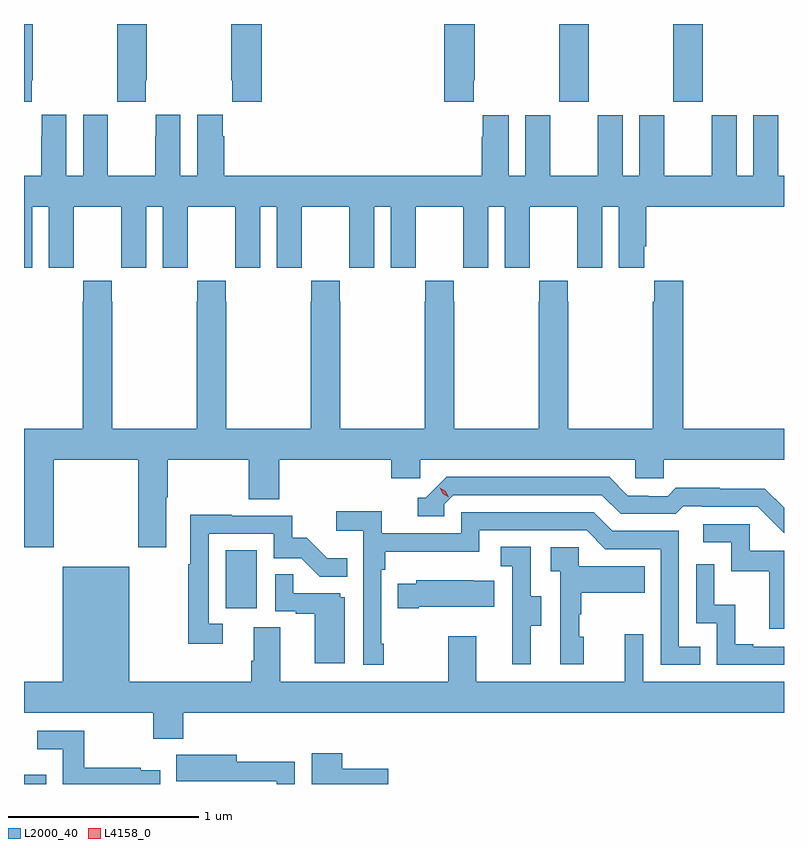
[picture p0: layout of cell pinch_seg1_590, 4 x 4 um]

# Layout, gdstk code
import gdstk
lib = gdstk.Library(unit=1e-6, precision=1e-09)
def R(c, l, rs):  # rectangles x0, y0, x1, y1
    for r in rs: c.add(gdstk.rectangle(r[:2], r[2:], *l))
def P(c, l, *ps):  # polygons
    for p in ps: c.add(gdstk.Polygon(p, *l))
L2000_40 = (2000, 40)
L4158_0 = (4158, 0)

pinch_seg1_590 = lib.new_cell('pinch_seg1_590')
R(pinch_seg1_590, L2000_40, [(1069.797,504.738,1069.914,504.787), (1070.858,505.662,1071.022,505.969), (1072.615,508.329,1072.77,508.738), (1073.215,508.329,1073.37,508.738)])
P(pinch_seg1_590, L2000_40, [(1072.165,508.441),(1072.17,508.441),(1072.17,508.738),(1072.01,508.738),(1072.01,508.329),(1072.165,508.329)],
  [(1071.047,508.738),(1070.887,508.738),(1070.887,508.441),(1070.893,508.441),(1070.893,508.329),(1071.047,508.329)],
  [(1070.439,508.441),(1070.442,508.441),(1070.442,508.738),(1070.287,508.738),(1070.287,508.441),(1070.289,508.441),(1070.289,508.329),(1070.439,508.329)],
  [(1069.839,508.441),(1069.842,508.441),(1069.842,508.738),(1069.797,508.738),(1069.797,508.329),(1069.839,508.329)],
  [(1070.239,508.148),(1070.238,508.148),(1070.238,508.261),(1070.108,508.261),(1070.108,507.94),(1070.02,507.94),(1070.02,508.261),(1069.89,508.261),(1069.89,508.148),(1069.889,508.148),(1069.889,507.94),(1069.797,507.94),(1069.797,507.456),(1069.84,507.456),(1069.84,507.776),(1069.928,507.776),(1069.928,507.456),(1070.058,507.456),(1070.058,507.568),(1070.059,507.568),(1070.059,507.776),(1070.309,507.776),(1070.309,507.568),(1070.31,507.568),(1070.31,507.456),(1070.44,507.456),(1070.44,507.776),(1070.528,507.776),(1070.528,507.456),(1070.658,507.456),(1070.658,507.568),(1070.659,507.568),(1070.659,507.776),(1070.909,507.776),(1070.909,507.568),(1070.91,507.568),(1070.91,507.456),(1071.04,507.456),(1071.04,507.776),(1071.128,507.776),(1071.128,507.456),(1071.258,507.456),(1071.258,507.568),(1071.259,507.568),(1071.259,507.776),(1071.509,507.776),(1071.509,507.568),(1071.51,507.568),(1071.51,507.456),(1071.64,507.456),(1071.64,507.776),(1071.728,507.776),(1071.728,507.456),(1071.858,507.456),(1071.858,507.568),(1071.859,507.568),(1071.859,507.776),(1072.109,507.776),(1072.109,507.568),(1072.11,507.568),(1072.11,507.456),(1072.24,507.456),(1072.24,507.776),(1072.328,507.776),(1072.328,507.456),(1072.458,507.456),(1072.458,507.568),(1072.459,507.568),(1072.459,507.776),(1072.709,507.776),(1072.709,507.568),(1072.71,507.568),(1072.71,507.456),(1072.84,507.456),(1072.84,507.776),(1072.928,507.776),(1072.928,507.456),(1073.062,507.456),(1073.062,507.568),(1073.072,507.568),(1073.072,507.776),(1073.797,507.776),(1073.797,507.94),(1073.767,507.94),(1073.767,508.258),(1073.636,508.258),(1073.636,507.94),(1073.548,507.94),(1073.548,508.258),(1073.417,508.258),(1073.417,507.94),(1073.167,507.94),(1073.167,508.258),(1073.036,508.258),(1073.036,507.94),(1072.948,507.94),(1072.948,508.258),(1072.817,508.258),(1072.817,507.94),(1072.567,507.94),(1072.567,508.258),(1072.436,508.258),(1072.436,507.94),(1072.348,507.94),(1072.348,508.258),(1072.211,508.258),(1072.211,508.145),(1072.205,508.145),(1072.205,507.94),(1070.852,507.94),(1070.852,508.148),(1070.842,508.148),(1070.842,508.261),(1070.708,508.261),(1070.708,507.94),(1070.62,507.94),(1070.62,508.261),(1070.49,508.261),(1070.49,508.148),(1070.489,508.148),(1070.489,507.94),(1070.239,507.94)],
  [(1069.953,506.444),(1070.398,506.444),(1070.398,505.983),(1070.545,505.983),(1070.545,506.248),(1070.553,506.248),(1070.553,506.444),(1070.98,506.444),(1070.98,506.236),(1071.14,506.236),(1071.14,506.444),(1071.731,506.444),(1071.731,506.346),(1071.882,506.346),(1071.882,506.444),(1073.013,506.444),(1073.013,506.346),(1073.163,506.346),(1073.163,506.444),(1073.797,506.444),(1073.797,506.608),(1073.267,506.608),(1073.267,507.388),(1073.113,507.388),(1073.113,507.275),(1073.107,507.275),(1073.107,506.608),(1072.662,506.608),(1072.662,507.275),(1072.659,507.275),(1072.659,507.388),(1072.509,507.388),(1072.509,507.275),(1072.507,507.275),(1072.507,506.608),(1072.062,506.608),(1072.062,507.275),(1072.059,507.275),(1072.059,507.388),(1071.909,507.388),(1071.909,507.275),(1071.907,507.275),(1071.907,506.608),(1071.462,506.608),(1071.462,507.275),(1071.459,507.275),(1071.459,507.388),(1071.309,507.388),(1071.309,507.275),(1071.307,507.275),(1071.307,506.608),(1070.862,506.608),(1070.862,507.275),(1070.859,507.275),(1070.859,507.388),(1070.709,507.388),(1070.709,507.275),(1070.707,507.275),(1070.707,506.608),(1070.262,506.608),(1070.262,507.275),(1070.259,507.275),(1070.259,507.388),(1070.109,507.388),(1070.109,507.275),(1070.107,507.275),(1070.107,506.608),(1069.797,506.608),(1069.797,505.983),(1069.953,505.983)],
  [(1073.797,506.192),(1073.696,506.293),(1073.46,506.293),(1073.46,506.296),(1073.227,506.296),(1073.185,506.253),(1073.082,506.253),(1073.082,506.256),(1072.975,506.256),(1072.876,506.355),(1072.023,506.355),(1071.912,506.244),(1071.869,506.244),(1071.869,506.148),(1072.008,506.148),(1072.008,506.211),(1072.056,506.259),(1072.839,506.259),(1072.938,506.16),(1073.227,506.16),(1073.266,506.199),(1073.365,506.199),(1073.365,506.196),(1073.658,506.196),(1073.797,506.057)],
  [(1071.691,505.477),(1071.678,505.477),(1071.678,505.865),(1071.698,505.865),(1071.698,505.961),(1072.194,505.961),(1072.194,506.073),(1072.758,506.073),(1072.857,505.974),(1073.148,505.974),(1073.148,505.365),(1073.357,505.365),(1073.357,505.461),(1073.244,505.461),(1073.244,506.07),(1072.894,506.07),(1072.795,506.169),(1072.098,506.169),(1072.098,506.058),(1071.68,506.058),(1071.68,506.174),(1071.441,506.174),(1071.441,506.072),(1071.582,506.072),(1071.582,505.365),(1071.691,505.365)],
  [(1070.842,505.581),(1070.769,505.581),(1070.769,506.055),(1071.111,506.055),(1071.111,505.926),(1071.255,505.926),(1071.353,505.828),(1071.497,505.828),(1071.497,505.927),(1071.393,505.927),(1071.286,506.034),(1071.21,506.034),(1071.21,506.151),(1070.891,506.151),(1070.891,506.156),(1070.673,506.156),(1070.673,505.895),(1070.661,505.895),(1070.661,505.476),(1070.842,505.476)],
  [(1073.797,505.965),(1073.616,505.965),(1073.616,506.106),(1073.373,506.106),(1073.373,506.01),(1073.52,506.01),(1073.52,505.857),(1073.719,505.857),(1073.719,505.554),(1073.797,505.554)],
  [(1072.465,505.57),(1072.519,505.57),(1072.519,505.725),(1072.464,505.725),(1072.464,505.988),(1072.305,505.988),(1072.305,505.885),(1072.368,505.885),(1072.368,505.581),(1072.367,505.581),(1072.367,505.368),(1072.465,505.368)],
  [(1072.744,505.512),(1072.719,505.512),(1072.719,505.631),(1072.729,505.631),(1072.729,505.745),(1073.063,505.745),(1073.063,505.885),(1072.716,505.885),(1072.716,505.983),(1072.569,505.983),(1072.569,505.859),(1072.62,505.859),(1072.62,505.368),(1072.744,505.368)],
  [(1073.797,505.461),(1073.635,505.461),(1073.635,505.474),(1073.54,505.474),(1073.54,505.682),(1073.43,505.682),(1073.43,505.894),(1073.334,505.894),(1073.334,505.584),(1073.442,505.584),(1073.442,505.365),(1073.797,505.365)],
  [(1070.636,505.112),(1073.797,505.112),(1073.797,505.276),(1073.055,505.276),(1073.055,505.525),(1072.958,505.525),(1072.958,505.276),(1072.177,505.276),(1072.177,505.516),(1072.03,505.516),(1072.03,505.276),(1071.145,505.276),(1071.145,505.562),(1071.005,505.562),(1071.005,505.388),(1070.993,505.388),(1070.993,505.276),(1070.35,505.276),(1070.35,505.882),(1070,505.882),(1070,505.276),(1069.797,505.276),(1069.797,505.112),(1070.476,505.112),(1070.476,504.977),(1070.636,504.977)],
  [(1071.484,505.722),(1071.462,505.722),(1071.462,505.743),(1071.215,505.743),(1071.215,505.841),(1071.12,505.841),(1071.12,505.647),(1071.227,505.647),(1071.227,505.635),(1071.326,505.635),(1071.326,505.374),(1071.484,505.374)],
  [(1071.874,505.67),(1072.271,505.67),(1072.271,505.807),(1072.163,505.807),(1072.163,505.81),(1071.861,505.81),(1071.861,505.792),(1071.763,505.792),(1071.763,505.663),(1071.874,505.663)],
  [(1070.514,504.811),(1070.411,504.811),(1070.411,504.823),(1070.113,504.823),(1070.113,505.017),(1069.867,505.017),(1069.867,504.92),(1070.002,504.92),(1070.002,504.738),(1070.514,504.738)],
  [(1071.715,504.819),(1071.472,504.819),(1071.472,504.901),(1071.311,504.901),(1071.311,504.738),(1071.715,504.738)],
  [(1071.222,504.854),(1070.917,504.854),(1070.917,504.892),(1070.599,504.892),(1070.599,504.752),(1070.813,504.752),(1070.813,504.753),(1071.126,504.753),(1071.126,504.738),(1071.222,504.738)])
P(pinch_seg1_590, L4158_0, [(1072.033,506.246),(1072.002,506.265),(1071.985,506.297),(1071.985,506.298),(1071.986,506.298),(1072.016,506.279),(1072.033,506.246),(1072.033,506.246)])

lib.write_gds('pinch_seg1_590.gds')
